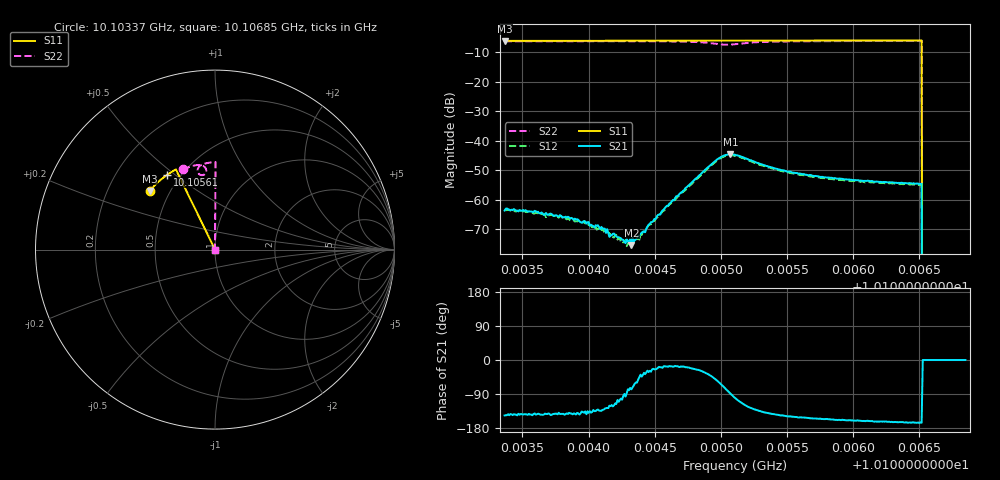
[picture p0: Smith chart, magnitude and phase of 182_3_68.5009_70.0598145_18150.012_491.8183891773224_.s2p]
#  HZ  S  RI  R  50.00
! Rohde & Schwarz Vector Network Analyzer
! Rohde-Schwarz,ZNB20-2Port,1311601062101988,3.16
! Created: UTC 3/20/2024, 5:11:53 PM
! freq[Hz]  re:S11  im:S11  re:S21  im:S21  re:S12  im:S12  re:S22  im:S22
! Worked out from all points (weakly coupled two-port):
!   401 points, 10.10337 GHz to 10.10685 GHz, reference 50 ohm
!   highest |S21| = -44.61 dB at 10.10507 GHz (marker M1); lowest = -75.2 dB at 10.10432 GHz (marker M2)
!   lowest |S11| = -6.2 dB at 10.10337 GHz (marker M3), VSWR 2.91, Z = 19.3 + j16.6 ohm
!   |S11| at or under -10 dB: 10.10652 GHz to end of sweep
!   |S22| runs from - to -6.2 dB; largest |S21 - S12| = 0.0006
!   S11 on the Smith chart (normalised r, x): 10.10337 GHz: 0.39, +0.33; 10.10561 GHz: 0.43, +0.47; 10.10685 GHz: 1.00, +0.00
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1.0103365e10  -0.3643 0.3261  -0.000548 -0.000364  -0.000504 -0.000464  -0.1782 0.4471
1.0103609e10  -0.3548 0.3374  -0.0005 -0.000371  -0.00046 -0.000387  -0.1628 0.4536
1.0103861e10  -0.3446 0.3489  -0.000376 -0.000303  -0.00031 -0.000321  -0.1463 0.4595
1.0103949e10  -0.341 0.3527  -0.000294 -0.000285  -0.000306 -0.000303  -0.1405 0.4616
1.0104079e10  -0.3355 0.3585  -0.000236 -0.00025  -0.000187 -0.000242  -0.1315 0.4643
1.0104166e10  -0.3316 0.3623  -0.000131 -0.000212  -0.000139 -0.000214  -0.1251 0.4659
1.0104218e10  -0.3296 0.3646  -6.3e-05 -0.000224  -4.51e-05 -0.000207  -0.1212 0.4669
1.0104271e10  -0.3271 0.3667  1.76e-06 -0.000194  2.57e-05 -0.000194  -0.1172 0.4679
1.0104323e10  -0.325 0.369  3.76e-05 -0.000169  9.03e-05 -0.000172  -0.1131 0.469
1.0104366e10  -0.323 0.3708  0.000116 -0.000196  0.000137 -0.000164  -0.1097 0.4694
1.0104532e10  -0.3157 0.3778  0.000536 -0.000176  0.000523 -0.000132  -0.095 0.4713
1.0104941e10  -0.2966 0.3936  0.00294 -0.00306  0.00308 -0.00265  -0.0484 0.4399
1.010501e10  -0.2935 0.3963  0.0021 -0.00503  0.0025 -0.00463  -0.0574 0.4202
1.0105071e10  -0.2907 0.3984  0.000171 -0.00588  0.000672 -0.00563  -0.0778 0.4154
1.0105106e10  -0.289 0.3997  -0.000999 -0.0057  -0.000451 -0.00555  -0.0882 0.4202
1.010542e10  -0.2743 0.4113  -0.00272 -0.00195  -0.00246 -0.00212  -0.0798 0.4692
1.0105611e10  -0.2647 0.4181  -0.0024 -0.0013  -0.0022 -0.00144  -0.063 0.4776
1.0105689e10  -0.2608 0.4208  -0.00231 -0.00112  -0.00212 -0.00125  -0.0565 0.4795
1.0106273e10  -0.2307 0.4395  -0.00189 -0.000584  -0.00175 -0.000722  -0.0136 0.487
1.0106499e10  -0.2188 0.4462  -0.00177 -0.000438  -0.00172 -0.000591  0.00193 0.488
1.0106542e10  0 0  0 0  0 0  0 0
1.0106847e10  0 0  0 0  0 0  0 0
